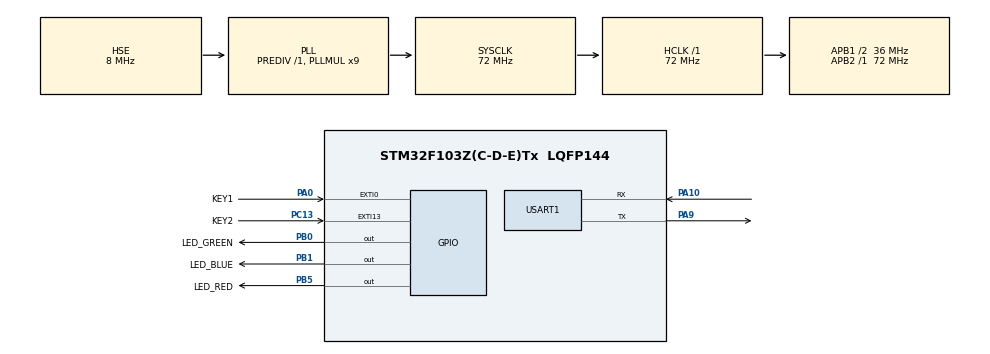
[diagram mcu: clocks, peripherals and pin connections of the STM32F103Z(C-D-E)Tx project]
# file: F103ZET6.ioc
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Mcu.Family=STM32F1
Mcu.Name=STM32F103Z(C-D-E)Tx
Mcu.Package=LQFP144
NVIC.EXTI0_IRQn=true\:3\:3\:true\:false\:true
NVIC.EXTI15_10_IRQn=true\:3\:3\:true\:false\:true
NVIC.PriorityGroup=NVIC_PRIORITYGROUP_2
NVIC.USART1_IRQn=true\:1\:1\:true\:false\:true
OSC_IN.Mode=HSE-External-Oscillator
OSC_IN.Signal=RCC_OSC_IN
OSC_OUT.Mode=HSE-External-Oscillator
OSC_OUT.Signal=RCC_OSC_OUT
PA0-WKUP.GPIO_Label=KEY1
PA0-WKUP.GPIO_ModeDefaultEXTI=GPIO_MODE_IT_FALLING
PA0-WKUP.Signal=GPXTI0
PA10.Mode=Asynchronous
PA10.Signal=USART1_RX
PA13.Mode=Serial_Wire
PA13.Signal=SYS_JTMS-SWDIO
PA14.Mode=Serial_Wire
PA14.Signal=SYS_JTCK-SWCLK
PA9.Mode=Asynchronous
PA9.Signal=USART1_TX
PB0.GPIO_Label=LED_GREEN
PB0.GPIO_ModeDefaultOutputPP=GPIO_MODE_OUTPUT_PP
PB0.GPIO_Speed=GPIO_SPEED_FREQ_HIGH
PB0.PinState=GPIO_PIN_SET
PB0.Signal=GPIO_Output
PB1.GPIO_Label=LED_BLUE
PB1.GPIO_ModeDefaultOutputPP=GPIO_MODE_OUTPUT_PP
PB1.GPIO_Speed=GPIO_SPEED_FREQ_HIGH
PB1.PinState=GPIO_PIN_SET
PB1.Signal=GPIO_Output
PB5.GPIO_Label=LED_RED
PB5.GPIO_ModeDefaultOutputPP=GPIO_MODE_OUTPUT_PP
PB5.GPIO_Speed=GPIO_SPEED_FREQ_HIGH
PB5.PinState=GPIO_PIN_SET
PB5.Signal=GPIO_Output
PC13-TAMPER-RTC.GPIO_Label=KEY2
PC13-TAMPER-RTC.GPIO_ModeDefaultEXTI=GPIO_MODE_IT_FALLING
PC13-TAMPER-RTC.Signal=GPXTI13
ProjectManager.HeapSize=0x800
ProjectManager.StackSize=0x1000
ProjectManager.TargetToolchain=MDK-ARM V5
RCC.AHBFreq_Value=72000000
RCC.APB1CLKDivider=RCC_HCLK_DIV2
RCC.APB1Freq_Value=36000000
RCC.APB1TimFreq_Value=72000000
RCC.APB2Freq_Value=72000000
RCC.APB2TimFreq_Value=72000000
RCC.HCLKFreq_Value=72000000
RCC.PLLMUL=RCC_PLL_MUL9
RCC.PLLSourceVirtual=RCC_PLLSOURCE_HSE
RCC.SYSCLKFreq_VALUE=72000000
RCC.SYSCLKSource=RCC_SYSCLKSOURCE_PLLCLK
RCC.USBFreq_Value=72000000
USART1.VirtualMode=VM_ASYNC
board=F103ZET6

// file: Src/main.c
/**
  ******************************************************************************
  * File Name          : main.c
  * Description        : Main program body
  ******************************************************************************
  *
  * COPYRIGHT(c) 2017 STMicroelectronics
  *
  * Redistribution and use in source and binary forms, with or without modification,
  * are permitted provided that the following conditions are met:
  *   1. Redistributions of source code must retain the above copyright notice,
  *      this list of conditions and the following disclaimer.
  *   2. Redistributions in binary form must reproduce the above copyright notice,
  *      this list of conditions and the following disclaimer in the documentation
  *      and/or other materials provided with the distribution.
  *   3. Neither the name of STMicroelectronics nor the names of its contributors
  *      may be used to endorse or promote products derived from this software
  *      without specific prior written permission.
  *
  * THIS SOFTWARE IS PROVIDED BY THE COPYRIGHT HOLDERS AND CONTRIBUTORS "AS IS"
  * AND ANY EXPRESS OR IMPLIED WARRANTIES, INCLUDING, BUT NOT LIMITED TO, THE
  * IMPLIED WARRANTIES OF MERCHANTABILITY AND FITNESS FOR A PARTICULAR PURPOSE ARE
  * DISCLAIMED. IN NO EVENT SHALL THE COPYRIGHT HOLDER OR CONTRIBUTORS BE LIABLE
  * FOR ANY DIRECT, INDIRECT, INCIDENTAL, SPECIAL, EXEMPLARY, OR CONSEQUENTIAL
  * DAMAGES (INCLUDING, BUT NOT LIMITED TO, PROCUREMENT OF SUBSTITUTE GOODS OR
  * SERVICES; LOSS OF USE, DATA, OR PROFITS; OR BUSINESS INTERRUPTION) HOWEVER
  * CAUSED AND ON ANY THEORY OF LIABILITY, WHETHER IN CONTRACT, STRICT LIABILITY,
  * OR TORT (INCLUDING NEGLIGENCE OR OTHERWISE) ARISING IN ANY WAY OUT OF THE USE
  * OF THIS SOFTWARE, EVEN IF ADVISED OF THE POSSIBILITY OF SUCH DAMAGE.
  *
  ******************************************************************************
  */
#include "main.h"
#include "stm32f1xx_hal.h"
#include "usart.h"
#include "gpio.h"

/* USER CODE BEGIN PV */
/* Private variables ---------------------------------------------------------*/
 uint8_t Usart1_Buffer;
 uint8_t Key_Number;
/* USER CODE END PV */

void SystemClock_Config(void);
void Error_Handler(void);

/* USER CODE BEGIN PFP */
/* Private function prototypes -----------------------------------------------*/

/* USER CODE END PFP */

int main(void)
{

  /* MCU Configuration----------------------------------------------------------*/

  /* Reset of all peripherals, Initializes the Flash interface and the Systick. */
  HAL_Init();

  /* Configure the system clock */
  SystemClock_Config();

  /* Initialize all configured peripherals */
  MX_GPIO_Init();
  MX_USART1_UART_Init();

  /* USER CODE BEGIN 2 */
      HAL_UART_Receive_IT(&huart1,&Usart1_Buffer,1);
  /* USER CODE END 2 */

  /* Infinite loop */
  while (1)
  {

  /* USER CODE BEGIN 3 */
    printf("hello\n");
      HAL_Delay(500);
  }
  /* USER CODE END 3 */

}

/** System Clock Configuration
*/
void SystemClock_Config(void)
{

  RCC_OscInitTypeDef RCC_OscInitStruct;
  RCC_ClkInitTypeDef RCC_ClkInitStruct;

    /**Initializes the CPU, AHB and APB busses clocks
    */
  RCC_OscInitStruct.OscillatorType = RCC_OSCILLATORTYPE_HSE;
  RCC_OscInitStruct.HSEState = RCC_HSE_ON;
  RCC_OscInitStruct.HSEPredivValue = RCC_HSE_PREDIV_DIV1;
  RCC_OscInitStruct.HSIState = RCC_HSI_ON;
  RCC_OscInitStruct.PLL.PLLState = RCC_PLL_ON;
  RCC_OscInitStruct.PLL.PLLSource = RCC_PLLSOURCE_HSE;
  RCC_OscInitStruct.PLL.PLLMUL = RCC_PLL_MUL9;
  if (HAL_RCC_OscConfig(&RCC_OscInitStruct) != HAL_OK)
  {
    Error_Handler();
  }

    /**Initializes the CPU, AHB and APB busses clocks
    */
  RCC_ClkInitStruct.ClockType = RCC_CLOCKTYPE_HCLK|RCC_CLOCKTYPE_SYSCLK
                              |RCC_CLOCKTYPE_PCLK1|RCC_CLOCKTYPE_PCLK2;
  RCC_ClkInitStruct.SYSCLKSource = RCC_SYSCLKSOURCE_PLLCLK;
  RCC_ClkInitStruct.AHBCLKDivider = RCC_SYSCLK_DIV1;
  RCC_ClkInitStruct.APB1CLKDivider = RCC_HCLK_DIV2;
  RCC_ClkInitStruct.APB2CLKDivider = RCC_HCLK_DIV1;

  if (HAL_RCC_ClockConfig(&RCC_ClkInitStruct, FLASH_LATENCY_2) != HAL_OK)
  {
    Error_Handler();
  }

    /**Configure the Systick interrupt time
    */
  HAL_SYSTICK_Config(HAL_RCC_GetHCLKFreq()/1000);

    /**Configure the Systick
    */
  HAL_SYSTICK_CLKSourceConfig(SYSTICK_CLKSOURCE_HCLK);

  /* SysTick_IRQn interrupt configuration */
  HAL_NVIC_SetPriority(SysTick_IRQn, 0, 0);
}

/* USER CODE BEGIN 4 */
void HAL_UART_RxCpltCallback(UART_HandleTypeDef *UartHandle)
{
  HAL_UART_Transmit(&huart1,&Usart1_Buffer,1,0);
  HAL_UART_Receive_IT(&huart1,&Usart1_Buffer,1);
}

#ifdef __cplusplus
 extern "C" {
#endif
 int fputc(int ch, FILE *f)
{
          HAL_UART_Transmit(&huart1, (uint8_t *)&ch, 1, 0xffff);
          return ch;
 }

 int fgetc(FILE * f)
{
          uint8_t ch = 0;
          HAL_UART_Receive(&huart1,&ch, 1, 0xffff);
					return ch;
 }
#ifdef __cplusplus
}
#endif
/* USER CODE END 4 */

void Error_Handler(void)
{
  while(1)
  {
  }
}

/************************ (C) COPYRIGHT STMicroelectronics *****END OF FILE****/
